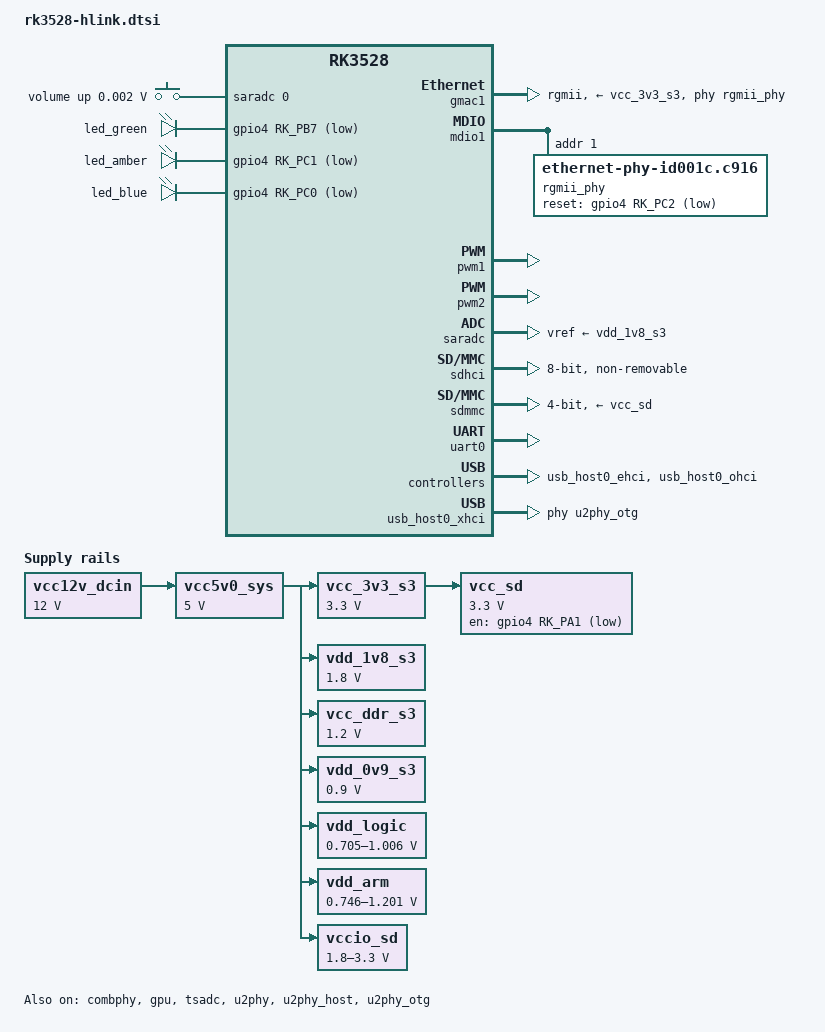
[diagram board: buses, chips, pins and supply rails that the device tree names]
// SPDX-License-Identifier: (GPL-2.0+ OR MIT)
/*
 * Copyright (c) 2022 Rockchip Electronics Co., Ltd.
 * Copyright (c) 2025 flippy <flippy@sina.com>
 */

/dts-v1/;

#include <dt-bindings/input/input.h>
#include <dt-bindings/leds/common.h>
#include <dt-bindings/pwm/pwm.h>
#include "rk3528.dtsi"
#include "rk3528-op-pwm.dtsi"

/ {
	adc_keys: adc-keys {
		status = "okay";
		compatible = "adc-keys";
		io-channels = <&saradc 0>;
		io-channel-names = "buttons";
		keyup-threshold-microvolt = <1800000>;
		poll-interval = <100>;

		vol-up-key {
			label = "volume up";
			linux,code = <KEY_VOLUMEUP>;
			press-threshold-microvolt = <1750>;
		};
	};

	aliases {
		ethernet0 = &gmac1;
		mmc0 = &sdmmc;
		mmc1 = &sdhci;
	};

	chosen: chosen{
		stdout-path = "serial0:1500000n8";
	};

	leds: leds {
		compatible = "gpio-leds";
		pinctrl-names = "led-green", "led-amber", "led-blue";
		pinctrl-0 = <&led_green_en>, <&led_amber_en>, <&led_blue_en>;

		led_green: led-green {
			label = "led_green";
			gpios = <&gpio4 RK_PB7 GPIO_ACTIVE_LOW>;
			linux,default-trigger = "heartbeat";
		};

		led_amber: led-amber {
			label = "led_amber";
			gpios = <&gpio4 RK_PC1 GPIO_ACTIVE_LOW>;
		};

		led_blue: led-blue {
			label = "led_blue";
			gpios = <&gpio4 RK_PC0 GPIO_ACTIVE_LOW>;
		};
	};

	reserved_memory: reserved-memory {
		#address-cells = <2>;
		#size-cells = <2>;
		ranges;

		cmd: cma {
			compatible = "shared-dma-pool";
			reusable;
			size = <0x00 0x10000000>;
			linux,cma-default;
		};

		ramoops: ramoops@110000 {
			compatible = "ramoops";
			/* 0x110000 to 0x1f0000 is for ramoops */
			reg = <0x0 0x110000 0x0 0xe0000>;
			boot-log-size = <0x8000>;	/* do not change */
			boot-log-count = <0x1>;		/* do not change */
			console-size = <0x80000>;
			pmsg-size = <0x30000>;
			ftrace-size = <0x00000>;
			record-size = <0x14000>;
		};
	};

	vcc12v_dcin: vcc12v-dcin {
		compatible = "regulator-fixed";
		regulator-name = "vcc12v-dcin";
		regulator-always-on;
		regulator-boot-on;
		regulator-min-microvolt = <12000000>;
		regulator-max-microvolt = <12000000>;
	};

	vcc5v0_sys: vcc5v0-sys {
		compatible = "regulator-fixed";
		regulator-name = "vcc5v0_sys";
		regulator-always-on;
		regulator-boot-on;
		regulator-min-microvolt = <5000000>;
		regulator-max-microvolt = <5000000>;
		vin-supply = <&vcc12v_dcin>;
	};

	vcc_3v3_s3: vcc-3v3-s3 {
		compatible = "regulator-fixed";
		regulator-name = "vcc_3v3_s3";
		regulator-always-on;
		regulator-boot-on;
		regulator-min-microvolt = <3300000>;
		regulator-max-microvolt = <3300000>;
		vin-supply = <&vcc5v0_sys>;
	};

	vdd_1v8_s3: vdd-1v8-s3 {
		compatible = "regulator-fixed";
		regulator-name = "vdd_1v8_s3";
		regulator-always-on;
		regulator-boot-on;
		regulator-min-microvolt = <1800000>;
		regulator-max-microvolt = <1800000>;
		vin-supply = <&vcc5v0_sys>;
	};

	vcc_ddr_s3: vcc-ddr-s3 {
		compatible = "regulator-fixed";
		regulator-name = "vcc_ddr_s3";
		regulator-always-on;
		regulator-boot-on;
		regulator-min-microvolt = <1200000>;
		regulator-max-microvolt = <1200000>;
		vin-supply = <&vcc5v0_sys>;
	};

	vdd_0v9_s3: vdd-0v9-s3 {
		compatible = "regulator-fixed";
		regulator-name = "vdd_0v9_s3";
		regulator-always-on;
		regulator-boot-on;
		regulator-min-microvolt = <900000>;
		regulator-max-microvolt = <900000>;
		vin-supply = <&vcc5v0_sys>;
	};

	vdd_logic: vdd-logic {
		compatible = "pwm-regulator";
		pwms = <&pwm2 0 5000 PWM_POLARITY_INVERTED>;
		regulator-name = "vdd_logic";
		regulator-min-microvolt = <705000>;
		regulator-max-microvolt = <1006000>;
		regulator-init-microvolt = <950000>;
		regulator-always-on;
		regulator-boot-on;
		regulator-settling-time-up-us = <250>;
		pwm-supply = <&vcc5v0_sys>;
		status = "okay";
	};

	vdd_arm: vdd-arm {
		compatible = "pwm-regulator";
		pwms = <&pwm1 0 5000 PWM_POLARITY_INVERTED>;
		regulator-name = "vdd_arm";
		regulator-min-microvolt = <746000>;
		regulator-max-microvolt = <1201000>;
		regulator-init-microvolt = <953000>;
		regulator-always-on;
		regulator-boot-on;
		regulator-settling-time-up-us = <250>;
		regulator-enable-ramp-delay = <400>;
		regulator-ramp-delay = <12500>;
		pwm-supply = <&vcc5v0_sys>;
		status = "okay";
	};

	vcc_sd: vcc-sd {
		compatible = "regulator-fixed";
		gpio = <&gpio4 RK_PA1 GPIO_ACTIVE_LOW>;
		regulator-name = "vcc_sd";
		regulator-min-microvolt = <3300000>;
		regulator-max-microvolt = <3300000>;
		vin-supply = <&vcc_3v3_s3>;
	};

	vccio_sd: vccio-sd {
		compatible = "regulator-gpio";
		regulator-name = "vccio_sd";
		regulator-min-microvolt = <1800000>;
		regulator-max-microvolt = <3300000>;
		gpios = <&gpio4 RK_PB6 GPIO_ACTIVE_HIGH>;
		vin-supply = <&vcc5v0_sys>;
		states = <1800000 0x0
			  3300000 0x1>;
	};
};

&combphy {
	status = "okay";
};

&cpu0 {
	cpu-supply = <&vdd_arm>;
};

&cpu1 {
	cpu-supply = <&vdd_arm>;
};

&cpu2 {
	cpu-supply = <&vdd_arm>;
};

&cpu3 {
	cpu-supply = <&vdd_arm>;
};

&gmac1 {
	status = "okay";
	pinctrl-names = "default";
	pinctrl-0 = <&rgmii_miim>, <&rgmii_tx_bus2>, <&rgmii_rx_bus2>, 
		    <&rgmii_rgmii_clk>, <&rgmii_rgmii_bus>, <&rgmii_clk>;

	phy-supply = <&vcc_3v3_s3>;
	phy-handle = <&rgmii_phy>;

	phy-mode = "rgmii";
	clock_in_out = "output";
	tx_delay = <0x36>;
	rx_delay = <0x2d>;
};

&gpu {
	mali-supply = <&vdd_logic>;
	status = "okay";
};

&mdio1 {
	rgmii_phy: phy@1 {
		/* Realtek RTL8211F (phyid 0x001cc916) */
		compatible = "ethernet-phy-id001c.c916";
		reg = <0x1>;
		realtek,led-data = <0xc160>;

		pinctrl-names = "default";
		pinctrl-0 = <&gmac1_reset_pin>;
		/* Reset time is 20ms, 100ms for rtl8211f */
		reset-assert-us = <20000>;
		reset-deassert-us = <100000>;
		reset-gpios = <&gpio4 RK_PC2 GPIO_ACTIVE_LOW>;
	};
};

&pinctrl {
	leds {
		led_green_en: led-green-en {
			rockchip,pins = <4 RK_PB7 RK_FUNC_GPIO &pcfg_pull_up>;
		};

		led_amber_en: led-amber-en {
			rockchip,pins = <4 RK_PC1 RK_FUNC_GPIO &pcfg_pull_up>;
		};

		led_blue_en: led-blue-en {
			rockchip,pins = <4 RK_PC0 RK_FUNC_GPIO &pcfg_pull_up>;
		};
	};

	gmac {
		gmac1_reset_pin: gmac1-reset-pin {
			rockchip,pins = <4 RK_PC2 RK_FUNC_GPIO &pcfg_pull_up>;
		};
	};
};

&pwm1 {
	pinctrl-names = "default";
	pinctrl-0 = <&pwm1m0_pins>;
	status = "okay";
};

&pwm2 {
	pinctrl-names = "default";
	pinctrl-0 = <&pwm2m0_pins>;
	status = "okay";
};

&saradc {
	status = "okay";
	vref-supply = <&vdd_1v8_s3>;
};

&sdhci {
	bus-width = <8>;
	no-sd;
	no-sdio;
	non-removable;
	mmc-hs200-1_8v;
	max-frequency = <200000000>;
	pinctrl-names = "default";
	pinctrl-0 = <&emmc_clk &emmc_cmd &emmc_strb &emmc_bus8>;
	status = "okay";
};

&sdmmc {
	bus-width = <4>;
	cap-mmc-highspeed;
	cap-sd-highspeed;
	disable-wp;
	max-frequency = <150000000>;
	pinctrl-names = "default";
	pinctrl-0 = <&sdmmc_clk &sdmmc_cmd &sdmmc_det &sdmmc_bus4>;
	supports-sd;
	sd-uhs-sdr12;
	sd-uhs-sdr25;
	sd-uhs-sdr50;
	sd-uhs-sdr104;
	vmmc-supply = <&vcc_sd>;
	vqmmc-supply = <&vccio_sd>;
	status = "okay";
};

&sfc {
	status = "disabled";
};

&tsadc {
	status = "okay";
};

&u2phy {
	status = "okay";
};

&u2phy_host {
	phy-supply = <&vcc5v0_sys>;
	status = "okay";
};

&u2phy_otg {
	status = "okay";
};

&uart0 {
	pinctrl-names = "default";
	pinctrl-0 = <&uart0m0_xfer>;
	status = "okay";
};

&usb_host0_ehci {
	status = "okay";
};

&usb_host0_ohci {
	status = "okay";
};

&usb_host0_xhci {
	extcon = <&u2phy>;
	maximum-speed = "high-speed";
	phys = <&u2phy_otg>;
	phy-names = "usb2-phy";
	status = "okay";
};
